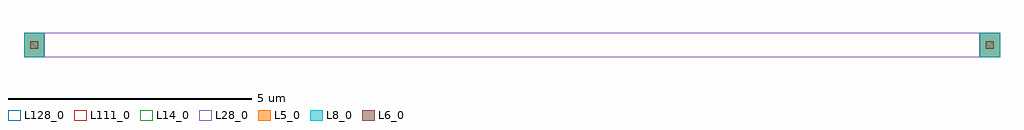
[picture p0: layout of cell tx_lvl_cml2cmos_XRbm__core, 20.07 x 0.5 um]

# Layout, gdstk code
import gdstk
lib = gdstk.Library(unit=1e-6, precision=1e-09)
def R(c, l, rs):  # rectangles x0, y0, x1, y1
    for r in rs: c.add(gdstk.rectangle(r[:2], r[2:], *l))
L5_0 = (5, 0)
L6_0 = (6, 0)
L8_0 = (8, 0)
L14_0 = (14, 0)
L28_0 = (28, 0)
L111_0 = (111, 0)
L128_0 = (128, 0)

tx_lvl_cml2cmos_xrbm__co = lib.new_cell('tx_lvl_cml2cmos_XRbm__core')
R(tx_lvl_cml2cmos_xrbm__co, L5_0, [(0,0,0.42,0.5), (19.65,0,20.07,0.5)])
R(tx_lvl_cml2cmos_xrbm__co, L6_0, [(0.13,0.17,0.29,0.33), (19.78,0.17,19.94,0.33)])
R(tx_lvl_cml2cmos_xrbm__co, L8_0, [(0,0,0.42,0.5), (19.65,0,20.07,0.5)])
R(tx_lvl_cml2cmos_xrbm__co, L14_0, [(0.42,0,19.65,0.5)])
R(tx_lvl_cml2cmos_xrbm__co, L28_0, [(0.42,0,19.65,0.5)])
R(tx_lvl_cml2cmos_xrbm__co, L111_0, [(0.42,0,19.65,0.5)])
R(tx_lvl_cml2cmos_xrbm__co, L128_0, [(0.42,0,19.65,0.5)])

lib.write_gds('tx_lvl_cml2cmos_XRbm__core.gds')
